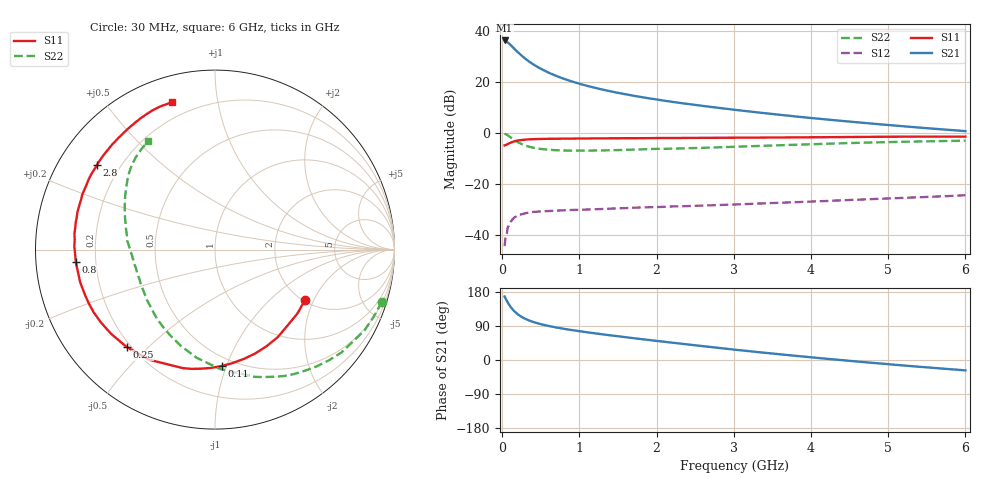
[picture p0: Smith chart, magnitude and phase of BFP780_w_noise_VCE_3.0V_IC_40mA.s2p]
! Infineon Technologies  Discrete & RF Semiconductors
! BFP780
! VCE =  3.0 V,  IC =  40 mA
! Common Emitter S-Parameters:  Jul 2015
# GHz  S  MA  R  50
!  f  S11  S21  S12  S22
! GHz  MAG  ANG  MAG  ANG  MAG  ANG  MAG  ANG
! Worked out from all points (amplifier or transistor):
!   75 points, 30 MHz to 6 GHz, reference 50 ohm
!   highest |S21| = 36.4 dB at 30 MHz (marker M1)
!   |S21| within 3 dB of that: start of sweep to 147.7 MHz
!   unconditionally stable (mu >= 1): 2.085 GHz to end of sweep
!   at 150 MHz: K = 0.12, MSG = 33.3 dB, |S12| = -33.3 dB
!   at 2.3 GHz: K = 1.07, MAG = 18.7 dB, |S12| = -28.8 dB
!   at 6 GHz: K = 1.32, MAG = 9.2 dB, |S12| = -24.4 dB
!   lowest NFmin = 1.24 dB at 450 MHz
!   S11 on the Smith chart (normalised r, x): 30 MHz: 2.05, -1.72; 110 MHz: 0.43, -0.96; 250 MHz: 0.18, -0.43; 800 MHz: 0.12, -0.04; 2.8 GHz: 0.12, +0.32; 6 GHz: 0.12, +0.74
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0.03  0.5748 -29.1  66.21 167.5  0.006 73.0  0.9746 -17.4
0.05  0.585 -46.2  63.89 159.3  0.0096 79.7  0.947 -28.3
0.07  0.6103 -62.0  60.74 152.0  0.0141 64.8  0.9083 -39.1
0.09  0.6302 -75.4  57.14 145.4  0.016 58.9  0.8634 -48.8
0.11  0.65 -86.8  53.44 139.5  0.0182 52.1  0.8213 -57.6
0.13  0.6683 -96.8  49.91 134.4  0.0202 49.0  0.7796 -65.3
0.15  0.6841 -105.1  46.49 129.9  0.0216 43.6  0.7436 -72.5
0.2  0.7153 -121.0  39.12 120.7  0.0242 37.1  0.6652 -87.7
0.25  0.7326 -132.3  33.4 113.8  0.0254 32.9  0.6109 -99.7
0.3  0.7451 -140.9  28.86 108.4  0.0266 28.5  0.5686 -109.7
0.35  0.754 -147.4  25.33 104.0  0.0276 25.5  0.5384 -117.8
0.45  0.7643 -156.8  20.23 97.3  0.0285 22.2  0.5018 -130.3
0.6  0.7728 -166.4  15.42 89.8  0.0294 19.5  0.4719 -143.4
0.8  0.7787 -174.9  11.65 82.3  0.0304 17.9  0.4559 -155.0
1.1  0.7835 175.9  8.472 73.1  0.0315 17.1  0.4521 -166.5
1.5  0.7908 167.0  6.184 62.7  0.0332 17.1  0.4638 -176.3
2.1  0.8004 155.9  4.334 48.1  0.0356 17.7  0.4908 173.3
2.8  0.8095 144.3  3.138 32.0  0.0386 17.9  0.5256 162.0
3.1  0.8138 139.7  2.771 25.4  0.04 18.3  0.5446 157.3
4.1  0.8297 125.6  1.918 5.2  0.0458 17.8  0.611 143.7
5.1  0.8502 114.3  1.402 -12.8  0.0527 15.3  0.6709 132.0
6  0.8542 106.1  1.095 -27.4  0.0601 11.4  0.7101 121.6
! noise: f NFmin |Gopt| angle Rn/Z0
0.45  1.24  0.39  -178  0.07
0.9  1.28  0.4  -174  0.08
1.5  1.35  0.43  -169  0.07
1.8  1.52  0.45  -159  0.08
2.4  1.67  0.47  -152  0.11
3  1.94  0.49  -149  0.15
3.5  2.45  0.56  -132  0.24
